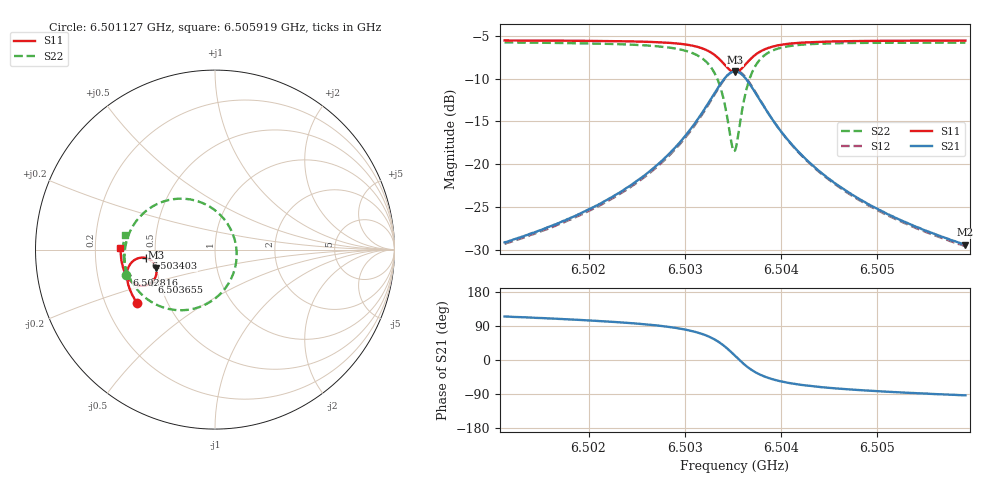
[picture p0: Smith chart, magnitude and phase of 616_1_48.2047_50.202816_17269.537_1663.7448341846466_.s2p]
#  HZ  S  RI  R  50.00
! Rohde & Schwarz Vector Network Analyzer
! Rohde-Schwarz,ZNB20-2Port,1311601062101988,3.16
! Created: UTC 3/20/2024, 12:03:42 PM
! freq[Hz]  re:S11  im:S11  re:S21  im:S21  re:S12  im:S12  re:S22  im:S22
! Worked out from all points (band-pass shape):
!   401 points, 6.501127 GHz to 6.505919 GHz, reference 50 ohm
!   highest |S21| = -9.17 dB at 6.503523 GHz (marker M1); lowest = -29.4 dB at 6.505919 GHz (marker M2)
!   |S21| within 3 dB of the highest: 6.503285 GHz to 6.503763 GHz (478.6 kHz wide, 0.00736 % of centre)
!   lowest |S11| = -9.3 dB at 6.503523 GHz (marker M3), VSWR 2.05, Z = 24.8 - j5.65 ohm
!   |S11| at or under -10 dB: nowhere
!   |S22| runs from -18.5 to -5.8 dB; largest |S21 - S12| = 0.012
!   S11 on the Smith chart (normalised r, x): 6.501127 GHz: 0.34, -0.28; 6.502816 GHz: 0.33, -0.13; 6.503403 GHz: 0.44, -0.05; 6.503655 GHz: 0.45, -0.19; 6.505919 GHz: 0.31, +0.01
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6.501127e9  -0.4345 -0.298  -0.0148 0.0319  -0.013 0.032  -0.494 -0.1398
6.5019298e9  -0.4679 -0.2372  -0.0139 0.0505  -0.0113 0.0499  -0.5045 -0.0516
6.5023491e9  -0.4821 -0.199  -0.0108 0.0692  -0.00793 0.0681  -0.5004 0.0101
6.5027325e9  -0.4905 -0.1553  -0.000783 0.1013  0.00293 0.0989  -0.4781 0.0903
6.5028164e9  -0.4909 -0.1435  0.00401 0.1121  0.00789 0.1091  -0.4673 0.1134
6.50302e9  -0.486 -0.1095  0.0274 0.1474  0.0309 0.1429  -0.4191 0.1827
6.5031638e9  -0.4713 -0.0795  0.0656 0.1816  0.0686 0.1758  -0.3448 0.2422
6.5033076e9  -0.4323 -0.0497  0.1493 0.2111  0.1501 0.2048  -0.1924 0.2838
6.5033555e9  -0.4105 -0.0449  0.1928 0.2096  0.1931 0.204  -0.1158 0.275
6.5034034e9  -0.3844 -0.0471  0.2431 0.194  0.2433 0.1893  -0.03 0.2396
6.5034873e9  -0.3404 -0.0773  0.3235 0.1173  0.3263 0.1131  0.0988 0.0886
6.5035232e9  -0.329 -0.1003  0.3415 0.0673  0.3458 0.0617  0.1202 -0.00569
6.5035472e9  -0.326 -0.1171  0.3452 0.0316  0.3496 0.0247  0.1178 -0.071
6.5035831e9  -0.3282 -0.1419  0.3375 -0.02  0.3415 -0.0292  0.0897 -0.1628
6.503655e9  -0.3512 -0.1803  0.2892 -0.0985  0.2895 -0.1106  -0.0239 -0.2897
6.5037509e9  -0.3932 -0.2007  0.2086 -0.1429  0.2037 -0.1535  -0.1882 -0.3379
6.5039066e9  -0.4436 -0.1931  0.1182 -0.142  0.1108 -0.1478  -0.3528 -0.2925
6.5040864e9  -0.475 -0.1705  0.0667 -0.1187  0.0601 -0.1213  -0.4364 -0.2193
6.504326e9  -0.4963 -0.1405  0.0353 -0.0927  0.0302 -0.0933  -0.4812 -0.1446
6.5046614e9  -0.511 -0.1042  0.0165 -0.0694  0.0128 -0.069  -0.5036 -0.0723
6.5051287e9  -0.5213 -0.0598  0.00526 -0.0506  0.00292 -0.0499  -0.511 -0.00243
6.5059195e9  -0.5265 0.00789  -0.00196 -0.034  -0.00342 -0.0332  -0.5042 0.0841
